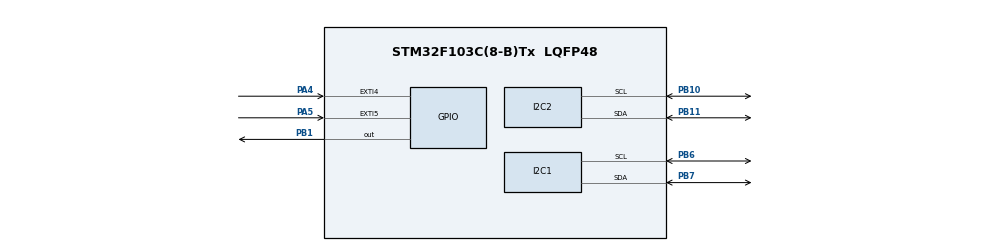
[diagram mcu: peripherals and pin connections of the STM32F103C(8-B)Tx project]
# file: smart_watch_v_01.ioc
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Dma.I2C1_TX.0.Direction=DMA_MEMORY_TO_PERIPH
Dma.I2C1_TX.0.Instance=DMA1_Channel6
Dma.I2C1_TX.0.MemDataAlignment=DMA_MDATAALIGN_BYTE
Dma.I2C1_TX.0.MemInc=DMA_MINC_ENABLE
Dma.I2C1_TX.0.Mode=DMA_NORMAL
Dma.I2C1_TX.0.PeriphDataAlignment=DMA_PDATAALIGN_BYTE
Dma.I2C1_TX.0.PeriphInc=DMA_PINC_DISABLE
Dma.I2C1_TX.0.Priority=DMA_PRIORITY_LOW
Dma.Request0=I2C1_TX
I2C1.I2C_Mode=I2C_Standard
Mcu.Family=STM32F1
Mcu.Name=STM32F103C(8-B)Tx
Mcu.Package=LQFP48
NVIC.DMA1_Channel6_IRQn=true\:0\:0\:false\:false\:true\:false\:true
NVIC.EXTI4_IRQn=true\:0\:0\:false\:false\:true\:true\:true
NVIC.EXTI9_5_IRQn=true\:0\:0\:false\:false\:true\:true\:true
NVIC.PriorityGroup=NVIC_PRIORITYGROUP_4
NVIC.TIM1_BRK_IRQn=true\:0\:0\:false\:false\:true\:true\:true
NVIC.TIM1_CC_IRQn=true\:0\:0\:false\:false\:true\:true\:true
NVIC.TIM1_TRG_COM_IRQn=true\:0\:0\:false\:false\:true\:true\:true
NVIC.TIM1_UP_IRQn=true\:0\:0\:false\:false\:true\:true\:true
NVIC.TIM2_IRQn=true\:0\:0\:false\:false\:true\:true\:true
PA13.Mode=Serial_Wire
PA13.Signal=SYS_JTMS-SWDIO
PA14.Mode=Serial_Wire
PA14.Signal=SYS_JTCK-SWCLK
PA4.Signal=GPXTI4
PA5.Signal=GPXTI5
PB1.Signal=GPIO_Output
PB10.Mode=I2C
PB10.Signal=I2C2_SCL
PB11.Mode=I2C
PB11.Signal=I2C2_SDA
PB6.Mode=I2C
PB6.Signal=I2C1_SCL
PB7.Mode=I2C
PB7.Signal=I2C1_SDA
PC14-OSC32_IN.Mode=LSE-External-Oscillator
PC14-OSC32_IN.Signal=RCC_OSC32_IN
PC15-OSC32_OUT.Mode=LSE-External-Oscillator
PC15-OSC32_OUT.Signal=RCC_OSC32_OUT
PD0-OSC_IN.Mode=HSE-External-Oscillator
PD0-OSC_IN.Signal=RCC_OSC_IN
PD1-OSC_OUT.Mode=HSE-External-Oscillator
PD1-OSC_OUT.Signal=RCC_OSC_OUT
ProjectManager.HeapSize=0x200
ProjectManager.StackSize=0x400
ProjectManager.TargetToolchain=STM32CubeIDE
RCC.APB1Freq_Value=8000000
RCC.APB2Freq_Value=8000000
RCC.SYSCLKSource=RCC_SYSCLKSOURCE_HSE
TIM1.Period=50
TIM1.Prescaler=32000
TIM2.Period=8000
TIM2.Prescaler=0
TIM3.Period=8000
TIM3.Prescaler=1000
VP_TIM1_VS_ClockSourceINT.Mode=Internal
VP_TIM2_VS_ClockSourceINT.Mode=Internal
VP_TIM3_VS_ClockSourceINT.Mode=Internal
board=custom

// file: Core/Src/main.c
/* USER CODE BEGIN Header */
/**
  ******************************************************************************
  * @file           : main.c
  * @brief          : Main program body
  ******************************************************************************
  * @attention
  *
  * <h2><center>&copy; Copyright (c) 2020 STMicroelectronics.
  * All rights reserved.</center></h2>
  *
  * This software component is licensed by ST under BSD 3-Clause license,
  * the "License"; You may not use this file except in compliance with the
  * License. You may obtain a copy of the License at:
  *                        opensource.org/licenses/BSD-3-Clause
  *
  ******************************************************************************
  */
/* USER CODE END Header */
#include "main.h"

/* USER CODE BEGIN Includes */
#include "ds3231.h"
#include "ssd1306.h"
#include "stdio.h"
#include "string.h"

/* USER CODE END Includes */

I2C_HandleTypeDef hi2c1;
I2C_HandleTypeDef hi2c2;
DMA_HandleTypeDef hdma_i2c1_tx;

TIM_HandleTypeDef htim1;
TIM_HandleTypeDef htim2;
TIM_HandleTypeDef htim3;

void SystemClock_Config(void);
static void MX_GPIO_Init(void);
static void MX_DMA_Init(void);
static void MX_I2C1_Init(void);
static void MX_TIM1_Init(void);
static void MX_TIM2_Init(void);
static void MX_TIM3_Init(void);
static void MX_I2C2_Init(void);

/* USER CODE BEGIN 0 */
void HAL_TIM_PeriodElapsedCallback(TIM_HandleTypeDef *htim);

/* USER CODE END 0 */

int main(void)
{

  /* MCU Configuration--------------------------------------------------------*/

  /* Reset of all peripherals, Initializes the Flash interface and the Systick. */
  HAL_Init();

  /* Configure the system clock */
  SystemClock_Config();

  /* Initialize all configured peripherals */
  MX_GPIO_Init();
  MX_DMA_Init();
  MX_I2C1_Init();
  MX_TIM1_Init();
  MX_TIM2_Init();
  MX_TIM3_Init();
  MX_I2C2_Init();
  /* USER CODE BEGIN 2 */

    sistem_zamani.clock_tick_1_ms = 0;

	ssd1306_Init();

	ssd1306_Fill(Black);
	ssd1306_UpdateScreen();

//	zaman_ayarlama.dakika = 11;
//	zaman_ayarlama.saat = 19;
//	zaman_ayarlama.saniye = 31;
//	ds3231_zaman_ayarla(&hi2c1, 0xD0, zaman_ayarlama);
	timer_durum = 1;
	lcd.secili = 1;
	lcd.menu = ANA_SAYFA;
	HAL_I2C_DeInit(&hi2c1);
	HAL_I2C_Init(&hi2c1);

	HAL_TIM_Base_Start_IT(&htim2);
	HAL_TIM_Base_Start_IT(&htim3);
  /* USER CODE END 2 */

  /* Infinite loop */
  while (1)
  {

    /* USER CODE BEGIN 3 */

	  if(sistem_zamani._1Hz_bayrak == 1)
	  {
		  HAL_GPIO_TogglePin(GPIOB, GPIO_PIN_1);	//Test amaçlı yazılan 1 Hz'lik task.
		  sistem_zamani._1Hz_bayrak = 0;			//Task bitiminde ilgili bayrak sıfırlanır.
	  }
	  if(sistem_zamani._2Hz_bayrak == 1)
	  {

		  sistem_zamani._2Hz_bayrak = 0;			//Task bitiminde ilgili bayrak sıfırlanır.
	  }
	  if(sistem_zamani._50Hz_bayrak == 1)
	  {
		  menu_ac(lcd.menu, lcd.secili);			//Ekran güncellenmesi yapılır.
		  sistem_zamani._50Hz_bayrak = 0;			//Task bitiminde ilgili bayrak sıfırlanır.
	  }
	  if(sistem_zamani._100Hz_bayrak == 1)
	  {

		  ds3231_zaman_oku(&hi2c1, DS3231_SLAVE_ADDR, &zaman);		//RTC modülünden okunan veri zaman yapısına işlenir.

		  sistem_zamani._100Hz_bayrak = 0;			//Task bitiminde ilgili bayrak sıfırlanır.
	  }
	  if(sistem_zamani._200Hz_bayrak == 1)
	  {

		  sistem_zamani._200Hz_bayrak = 0;			//Task bitiminde ilgili bayrak sıfırlanır.
	  }
//	  if(sistem_zamani._500Hz_bayrak == 1)
//	  {
//
//		  sistem_zamani._500Hz_bayrak = 0;
//	  }

  }
  /* USER CODE END 3 */
}

void SystemClock_Config(void)
{
  RCC_OscInitTypeDef RCC_OscInitStruct = {0};
  RCC_ClkInitTypeDef RCC_ClkInitStruct = {0};

  /** Initializes the RCC Oscillators according to the specified parameters
  * in the RCC_OscInitTypeDef structure.
  */
  RCC_OscInitStruct.OscillatorType = RCC_OSCILLATORTYPE_HSE;
  RCC_OscInitStruct.HSEState = RCC_HSE_ON;
  RCC_OscInitStruct.PLL.PLLState = RCC_PLL_NONE;
  if (HAL_RCC_OscConfig(&RCC_OscInitStruct) != HAL_OK)
  {
    Error_Handler();
  }
  /** Initializes the CPU, AHB and APB buses clocks
  */
  RCC_ClkInitStruct.ClockType = RCC_CLOCKTYPE_HCLK|RCC_CLOCKTYPE_SYSCLK
                              |RCC_CLOCKTYPE_PCLK1|RCC_CLOCKTYPE_PCLK2;
  RCC_ClkInitStruct.SYSCLKSource = RCC_SYSCLKSOURCE_HSE;
  RCC_ClkInitStruct.AHBCLKDivider = RCC_SYSCLK_DIV1;
  RCC_ClkInitStruct.APB1CLKDivider = RCC_HCLK_DIV1;
  RCC_ClkInitStruct.APB2CLKDivider = RCC_HCLK_DIV1;

  if (HAL_RCC_ClockConfig(&RCC_ClkInitStruct, FLASH_LATENCY_0) != HAL_OK)
  {
    Error_Handler();
  }
}

static void MX_I2C1_Init(void)
{

  hi2c1.Instance = I2C1;
  hi2c1.Init.ClockSpeed = 100000;
  hi2c1.Init.DutyCycle = I2C_DUTYCYCLE_2;
  hi2c1.Init.OwnAddress1 = 0;
  hi2c1.Init.AddressingMode = I2C_ADDRESSINGMODE_7BIT;
  hi2c1.Init.DualAddressMode = I2C_DUALADDRESS_DISABLE;
  hi2c1.Init.OwnAddress2 = 0;
  hi2c1.Init.GeneralCallMode = I2C_GENERALCALL_DISABLE;
  hi2c1.Init.NoStretchMode = I2C_NOSTRETCH_DISABLE;
  if (HAL_I2C_Init(&hi2c1) != HAL_OK)
  {
    Error_Handler();
  }

}

static void MX_I2C2_Init(void)
{

  hi2c2.Instance = I2C2;
  hi2c2.Init.ClockSpeed = 100000;
  hi2c2.Init.DutyCycle = I2C_DUTYCYCLE_2;
  hi2c2.Init.OwnAddress1 = 0;
  hi2c2.Init.AddressingMode = I2C_ADDRESSINGMODE_7BIT;
  hi2c2.Init.DualAddressMode = I2C_DUALADDRESS_DISABLE;
  hi2c2.Init.OwnAddress2 = 0;
  hi2c2.Init.GeneralCallMode = I2C_GENERALCALL_DISABLE;
  hi2c2.Init.NoStretchMode = I2C_NOSTRETCH_DISABLE;
  if (HAL_I2C_Init(&hi2c2) != HAL_OK)
  {
    Error_Handler();
  }

}

static void MX_TIM1_Init(void)
{

  TIM_ClockConfigTypeDef sClockSourceConfig = {0};
  TIM_MasterConfigTypeDef sMasterConfig = {0};

  htim1.Instance = TIM1;
  htim1.Init.Prescaler = 32000;
  htim1.Init.CounterMode = TIM_COUNTERMODE_UP;
  htim1.Init.Period = 50;
  htim1.Init.ClockDivision = TIM_CLOCKDIVISION_DIV1;
  htim1.Init.RepetitionCounter = 0;
  htim1.Init.AutoReloadPreload = TIM_AUTORELOAD_PRELOAD_DISABLE;
  if (HAL_TIM_Base_Init(&htim1) != HAL_OK)
  {
    Error_Handler();
  }
  sClockSourceConfig.ClockSource = TIM_CLOCKSOURCE_INTERNAL;
  if (HAL_TIM_ConfigClockSource(&htim1, &sClockSourceConfig) != HAL_OK)
  {
    Error_Handler();
  }
  sMasterConfig.MasterOutputTrigger = TIM_TRGO_RESET;
  sMasterConfig.MasterSlaveMode = TIM_MASTERSLAVEMODE_DISABLE;
  if (HAL_TIMEx_MasterConfigSynchronization(&htim1, &sMasterConfig) != HAL_OK)
  {
    Error_Handler();
  }

}

static void MX_TIM2_Init(void)
{

  TIM_ClockConfigTypeDef sClockSourceConfig = {0};
  TIM_MasterConfigTypeDef sMasterConfig = {0};

  htim2.Instance = TIM2;
  htim2.Init.Prescaler = 0;
  htim2.Init.CounterMode = TIM_COUNTERMODE_UP;
  htim2.Init.Period = 8000;
  htim2.Init.ClockDivision = TIM_CLOCKDIVISION_DIV1;
  htim2.Init.AutoReloadPreload = TIM_AUTORELOAD_PRELOAD_DISABLE;
  if (HAL_TIM_Base_Init(&htim2) != HAL_OK)
  {
    Error_Handler();
  }
  sClockSourceConfig.ClockSource = TIM_CLOCKSOURCE_INTERNAL;
  if (HAL_TIM_ConfigClockSource(&htim2, &sClockSourceConfig) != HAL_OK)
  {
    Error_Handler();
  }
  sMasterConfig.MasterOutputTrigger = TIM_TRGO_RESET;
  sMasterConfig.MasterSlaveMode = TIM_MASTERSLAVEMODE_DISABLE;
  if (HAL_TIMEx_MasterConfigSynchronization(&htim2, &sMasterConfig) != HAL_OK)
  {
    Error_Handler();
  }

}

static void MX_TIM3_Init(void)
{

  TIM_ClockConfigTypeDef sClockSourceConfig = {0};
  TIM_MasterConfigTypeDef sMasterConfig = {0};

  htim3.Instance = TIM3;
  htim3.Init.Prescaler = 1000;
  htim3.Init.CounterMode = TIM_COUNTERMODE_UP;
  htim3.Init.Period = 8000;
  htim3.Init.ClockDivision = TIM_CLOCKDIVISION_DIV1;
  htim3.Init.AutoReloadPreload = TIM_AUTORELOAD_PRELOAD_DISABLE;
  if (HAL_TIM_Base_Init(&htim3) != HAL_OK)
  {
    Error_Handler();
  }
  sClockSourceConfig.ClockSource = TIM_CLOCKSOURCE_INTERNAL;
  if (HAL_TIM_ConfigClockSource(&htim3, &sClockSourceConfig) != HAL_OK)
  {
    Error_Handler();
  }
  sMasterConfig.MasterOutputTrigger = TIM_TRGO_RESET;
  sMasterConfig.MasterSlaveMode = TIM_MASTERSLAVEMODE_DISABLE;
  if (HAL_TIMEx_MasterConfigSynchronization(&htim3, &sMasterConfig) != HAL_OK)
  {
    Error_Handler();
  }

}

static void MX_DMA_Init(void)
{

  /* DMA controller clock enable */
  __HAL_RCC_DMA1_CLK_ENABLE();

  /* DMA interrupt init */
  /* DMA1_Channel6_IRQn interrupt configuration */
  HAL_NVIC_SetPriority(DMA1_Channel6_IRQn, 0, 0);
  HAL_NVIC_EnableIRQ(DMA1_Channel6_IRQn);

}

static void MX_GPIO_Init(void)
{
  GPIO_InitTypeDef GPIO_InitStruct = {0};

  /* GPIO Ports Clock Enable */
  __HAL_RCC_GPIOC_CLK_ENABLE();
  __HAL_RCC_GPIOD_CLK_ENABLE();
  __HAL_RCC_GPIOA_CLK_ENABLE();
  __HAL_RCC_GPIOB_CLK_ENABLE();

  /*Configure GPIO pin Output Level */
  HAL_GPIO_WritePin(GPIOB, GPIO_PIN_1, GPIO_PIN_RESET);

  /*Configure GPIO pins : PA4 PA5 */
  GPIO_InitStruct.Pin = GPIO_PIN_4|GPIO_PIN_5;
  GPIO_InitStruct.Mode = GPIO_MODE_IT_RISING;
  GPIO_InitStruct.Pull = GPIO_NOPULL;
  HAL_GPIO_Init(GPIOA, &GPIO_InitStruct);

  /*Configure GPIO pin : PB1 */
  GPIO_InitStruct.Pin = GPIO_PIN_1;
  GPIO_InitStruct.Mode = GPIO_MODE_OUTPUT_PP;
  GPIO_InitStruct.Pull = GPIO_NOPULL;
  GPIO_InitStruct.Speed = GPIO_SPEED_FREQ_LOW;
  HAL_GPIO_Init(GPIOB, &GPIO_InitStruct);

  /* EXTI interrupt init*/
  HAL_NVIC_SetPriority(EXTI4_IRQn, 0, 0);
  HAL_NVIC_EnableIRQ(EXTI4_IRQn);

  HAL_NVIC_SetPriority(EXTI9_5_IRQn, 0, 0);
  HAL_NVIC_EnableIRQ(EXTI9_5_IRQn);

}

/* USER CODE BEGIN 4 */
void HAL_TIM_PeriodElapsedCallback(TIM_HandleTypeDef *htim)
{
  /* Prevent unused argument(s) compilation warning */
  UNUSED(htim);

  /* NOTE : This function should not be modified, when the callback is needed,
            the HAL_TIM_PeriodElapsedCallback could be implemented in the user file
   */
  if(htim == &htim1)
  {
	  /*Buton debouncing önlemede kullanılan timer kesme oluşturdu*/
	  timer_durum = 1;					//20 ms dolmus bayrağı 1 yap
	  HAL_TIM_Base_Stop_IT(&htim1);		//Timer'ı durdur.
  }
  else if (htim == &htim2)
  {
	  /*Task yapısında kullanılan timer kesme oluşturdu.*/
	  HAL_TIM_Base_Stop_IT(&htim2);			//Timer'ı durdur.
	  sistem_zamani.clock_tick_1_ms++;		//1ms için tutulan değişkeni arttır.

	  if(sistem_zamani.clock_tick_1_ms % 1000 == 0 )	//1000ms periyodu mu?
	  {
		  if(sistem_zamani._1Hz_bayrak == 1)
		  {
			  sistem_zamani.zaman_asimi = 1;			//Bayrak 1 iken ikinci kez
		  }												//gelinirse zaman aşımı
		  sistem_zamani._1Hz_bayrak = 1;				//İlgili bayrağı kaldır
	  }
	  if(sistem_zamani.clock_tick_1_ms % 500 == 0 )		//500ms periyodu mu?
	  {
		  if(sistem_zamani._2Hz_bayrak == 1)
		  {
			  sistem_zamani.zaman_asimi = 1;            //Bayrak 1 iken ikinci kez
		  }                                             //gelinirse zaman aşımı
		  sistem_zamani._2Hz_bayrak = 1;                //İlgili bayrağı kaldır
	  }
	  if(sistem_zamani.clock_tick_1_ms % 20 == 0 )		//20ms periyodu mu?
	  {
		  if(sistem_zamani._50Hz_bayrak == 1)
		  {
			  sistem_zamani.zaman_asimi = 1;            //Bayrak 1 iken ikinci kez
		  }                                             //gelinirse zaman aşımı
		  sistem_zamani._50Hz_bayrak = 1;               //İlgili bayrağı kaldır
	  }
	  if(sistem_zamani.clock_tick_1_ms % 10 == 0)		//10ms periyodu mu?
	  {
		  if(sistem_zamani._100Hz_bayrak == 1)
		  {
			  sistem_zamani.zaman_asimi = 1;            //Bayrak 1 iken ikinci kez
		  }                                             //gelinirse zaman aşımı
		  sistem_zamani._100Hz_bayrak = 1;              //İlgili bayrağı kaldır
	  }
	  if(sistem_zamani.clock_tick_1_ms % 5 == 0)		//5ms periyodu mu?
	  {
		  if(sistem_zamani._200Hz_bayrak == 1)
		  {
			  sistem_zamani.zaman_asimi = 1;            //Bayrak 1 iken ikinci kez
		  }                                             //gelinirse zaman aşımı
		  sistem_zamani._200Hz_bayrak = 1;              //İlgili bayrağı kaldır
	  }

		HAL_TIM_Base_Start_IT(&htim2);					//Timer başlat

  }

}

/* USER CODE END 4 */

void Error_Handler(void)
{
  __disable_irq();
  while (1)
  {
  }
}

/************************ (C) COPYRIGHT STMicroelectronics *****END OF FILE****/
